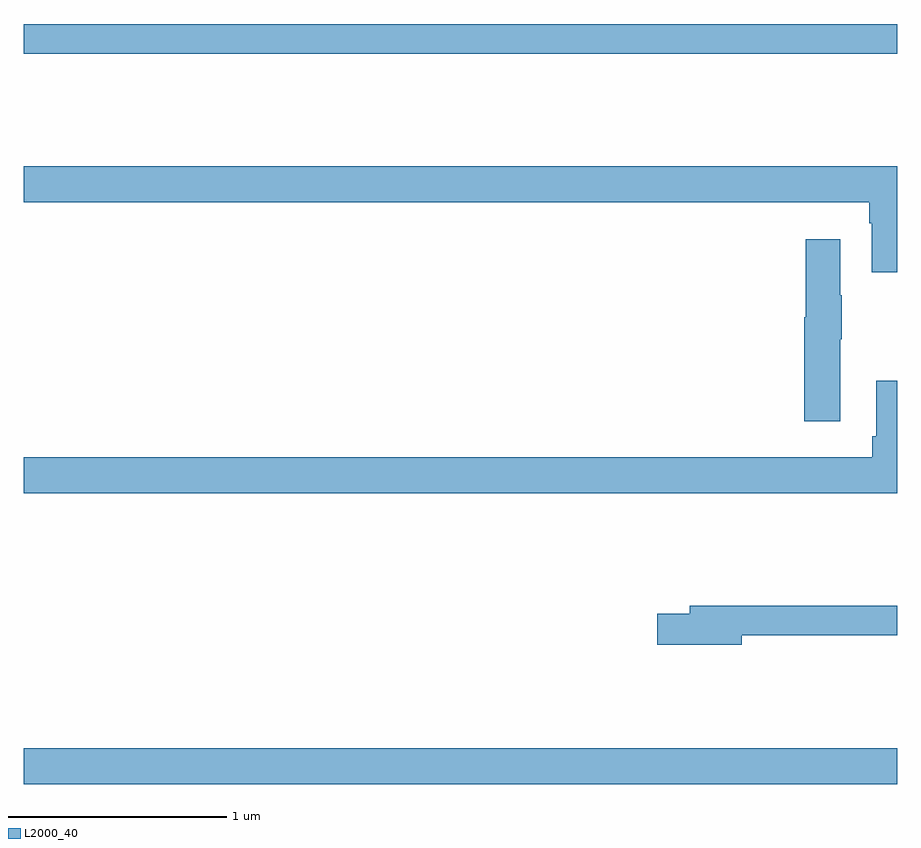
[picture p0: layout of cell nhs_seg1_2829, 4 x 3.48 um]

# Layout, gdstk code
import gdstk
lib = gdstk.Library(unit=1e-6, precision=1e-09)
def R(c, l, rs):  # rectangles x0, y0, x1, y1
    for r in rs: c.add(gdstk.rectangle(r[:2], r[2:], *l))
def P(c, l, *ps):  # polygons
    for p in ps: c.add(gdstk.Polygon(p, *l))
L2000_40 = (2000, 40)

nhs_seg1_2829 = lib.new_cell('nhs_seg1_2829')
R(nhs_seg1_2829, L2000_40, [(265,510.44,269,510.604), (265,513.784,269,513.92)])
P(nhs_seg1_2829, L2000_40, [(269,513.268),(265,513.268),(265,513.104),(268.871,513.104),(268.871,513.008),(268.883,513.008),(268.883,512.784),(269,512.784)],
  [(268.738,512.477),(268.746,512.477),(268.746,512.677),(268.738,512.677),(268.738,512.935),(268.58,512.935),(268.58,512.577),(268.574,512.577),(268.574,512.1),(268.738,512.1)],
  [(269,512.287),(268.904,512.287),(268.904,512.032),(268.885,512.032),(268.885,511.936),(265,511.936),(265,511.772),(269,511.772)],
  [(268.288,511.12),(269,511.12),(269,511.256),(268.049,511.256),(268.049,511.22),(267.9,511.22),(267.9,511.078),(268.288,511.078)])

lib.write_gds('nhs_seg1_2829.gds')
